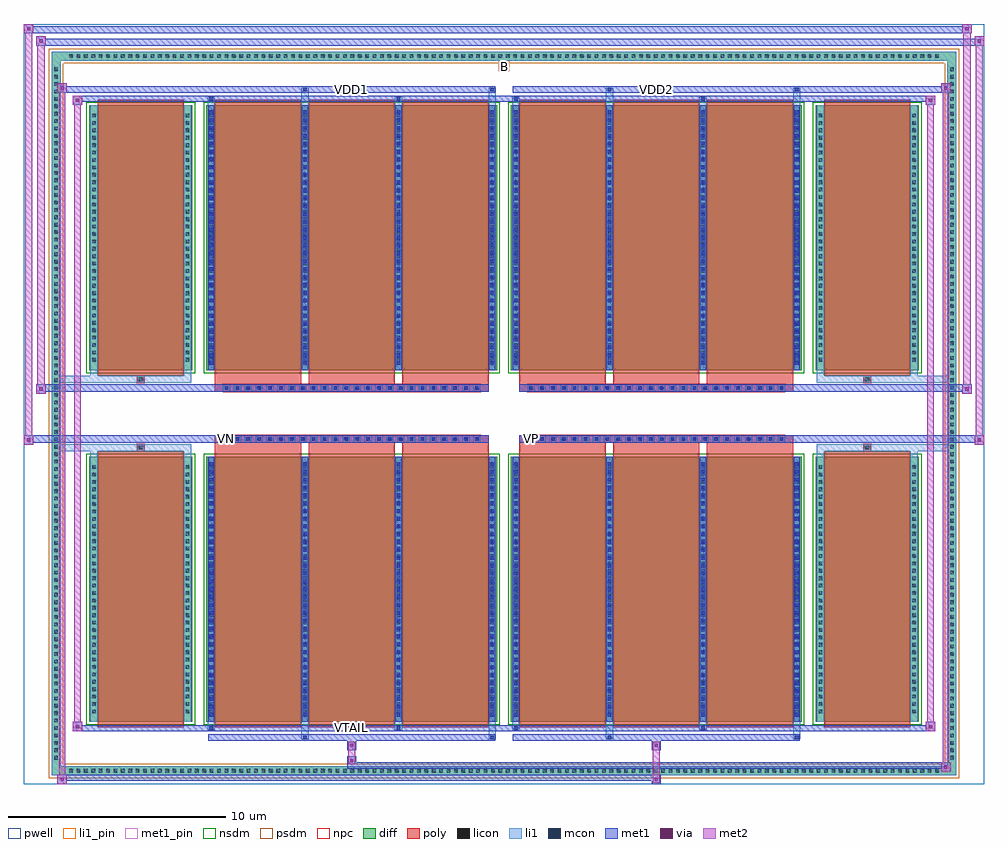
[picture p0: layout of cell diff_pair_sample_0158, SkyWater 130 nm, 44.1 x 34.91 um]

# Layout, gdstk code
import gdstk
lib = gdstk.Library(unit=1e-6, precision=5e-09)
def R(c, l, rs):  # rectangles x0, y0, x1, y1
    for r in rs: c.add(gdstk.rectangle(r[:2], r[2:], *l))
def A(c, l, x, y, w, h, nx, ny, dx, dy):  # array of equal rectangles
    R(c, l, [(x+i*dx, y+j*dy, x+i*dx+w, y+j*dy+h) for i in range(nx) for j in range(ny)])
def P(c, l, *ps):  # polygons
    for p in ps: c.add(gdstk.Polygon(p, *l))
pwell = (64, 44)
diff = (65, 20)
poly = (66, 20)
licon = (66, 44)
li1_pin = (67, 16)
li1 = (67, 20)
mcon = (67, 44)
met1_pin = (68, 16)
met1 = (68, 20)
via = (68, 44)
met2 = (69, 20)
nsdm = (93, 44)
psdm = (94, 20)
npc = (95, 20)

diff_pair_sample_0158 = lib.new_cell('diff_pair_sample_0158')
R(diff_pair_sample_0158, pwell, [(-22.05,-17.02,22.05,17.89), (-19.37,-15.21,-0.01,-0.805), (0.01,-15.21,19.37,-0.805), (-19.37,0.805,-0.01,15.21), (0.01,0.805,19.37,15.21)])
A(diff_pair_sample_0158, diff, -20.095, -16.62, 0.41, 0.41, 118, 2, 0.34, 32.83)
A(diff_pair_sample_0158, diff, -20.78, -16.015, 0.41, 0.41, 1, 94, 0, 0.34)
A(diff_pair_sample_0158, diff, 20.37, -16.015, 0.41, 0.41, 1, 94, 0, 0.34)
R(diff_pair_sample_0158, diff, [(-20.095,-16.62,20.095,-16.21), (-20.78,-16.015,-20.37,16.015), (20.37,-16.015,20.78,16.015), (-19.06,-14.165,-14.31,-1.985), (-13.67,-14.165,-0.32,-1.985), (0.32,-14.165,13.67,-1.985), (14.31,-14.165,19.06,-1.985), (-19.06,1.985,-14.31,14.165), (-13.67,1.985,-0.32,14.165), (0.32,1.985,13.67,14.165), (14.31,1.985,19.06,14.165), (-20.095,16.21,20.095,16.62)])
P(diff_pair_sample_0158, diff, [(20.78,16.62),(-20.78,16.62),(-20.78,-16.21),(-20.37,-16.21),(-20.37,16.21),(20.37,16.21),(20.37,-16.21),(-20.37,-16.21),(-20.78,-16.21),(-20.78,-16.62),(20.78,-16.62)])
A(diff_pair_sample_0158, poly, -13.28, -14.415, 3.97, 12.68, 3, 2, 4.3, 16.15)
A(diff_pair_sample_0158, poly, 0.71, -14.415, 3.97, 12.68, 3, 2, 4.3, 16.15)
A(diff_pair_sample_0158, poly, -13.28, -1.735, 3.97, 0.4, 3, 2, 4.3, 3.07)
A(diff_pair_sample_0158, poly, 0.71, -1.735, 3.97, 0.4, 3, 2, 4.3, 3.07)
A(diff_pair_sample_0158, poly, -12.91, -1.335, 0.33, 0.33, 24, 2, 0.5, 2.34)
A(diff_pair_sample_0158, poly, 1.08, -1.335, 0.33, 0.33, 24, 2, 0.5, 2.34)
R(diff_pair_sample_0158, poly, [(-18.67,-14.415,-14.7,-1.735), (14.7,-14.415,18.67,-1.735), (-16.85,-1.735,-16.52,-1.405), (-16.85,-1.735,-16.52,-1.405), (16.52,-1.735,16.85,-1.405), (16.52,-1.735,16.85,-1.405), (-13.28,-1.335,-0.71,-1.005), (0.71,-1.335,13.28,-1.005), (-13.28,1.005,-0.71,1.335), (0.71,1.005,13.28,1.335), (-16.85,1.405,-16.52,1.735), (-16.85,1.405,-16.52,1.735), (16.52,1.405,16.85,1.735), (16.52,1.405,16.85,1.735), (-18.67,1.735,-14.7,14.415), (14.7,1.735,18.67,14.415)])
A(diff_pair_sample_0158, licon, -19.975, -16.5, 0.17, 0.17, 118, 2, 0.34, 32.83)
A(diff_pair_sample_0158, licon, -20.66, -15.895, 0.17, 0.17, 1, 94, 0, 0.34)
A(diff_pair_sample_0158, licon, 20.49, -15.895, 0.17, 0.17, 1, 94, 0, 0.34)
A(diff_pair_sample_0158, licon, -18.92, -13.77, 0.17, 0.17, 1, 34, 0, 0.34)
A(diff_pair_sample_0158, licon, -14.62, -13.77, 0.17, 0.17, 1, 34, 0, 0.34)
A(diff_pair_sample_0158, licon, -13.53, -13.77, 0.17, 0.17, 4, 34, 4.3, 0.34)
A(diff_pair_sample_0158, licon, 0.46, -13.77, 0.17, 0.17, 4, 34, 4.3, 0.34)
A(diff_pair_sample_0158, licon, 14.45, -13.77, 0.17, 0.17, 1, 34, 0, 0.34)
A(diff_pair_sample_0158, licon, 18.75, -13.77, 0.17, 0.17, 1, 34, 0, 0.34)
A(diff_pair_sample_0158, licon, -12.83, -1.255, 0.17, 0.17, 24, 2, 0.5, 2.34)
A(diff_pair_sample_0158, licon, 1.16, -1.255, 0.17, 0.17, 24, 2, 0.5, 2.34)
A(diff_pair_sample_0158, licon, -18.92, 2.38, 0.17, 0.17, 1, 34, 0, 0.34)
A(diff_pair_sample_0158, licon, -14.62, 2.38, 0.17, 0.17, 1, 34, 0, 0.34)
A(diff_pair_sample_0158, licon, -13.53, 2.38, 0.17, 0.17, 4, 34, 4.3, 0.34)
A(diff_pair_sample_0158, licon, 0.46, 2.38, 0.17, 0.17, 4, 34, 4.3, 0.34)
A(diff_pair_sample_0158, licon, 14.45, 2.38, 0.17, 0.17, 1, 34, 0, 0.34)
A(diff_pair_sample_0158, licon, 18.75, 2.38, 0.17, 0.17, 1, 34, 0, 0.34)
R(diff_pair_sample_0158, licon, [(-16.77,-1.655,-16.6,-1.485), (16.6,-1.655,16.77,-1.485), (-16.77,1.485,-16.6,1.655), (16.6,1.485,16.77,1.655)])
R(diff_pair_sample_0158, li1_pin, [(-0.25,15.71,0.25,16.21)])
A(diff_pair_sample_0158, li1, -20.055, -16.58, 0.33, 0.33, 118, 2, 0.34, 32.83)
A(diff_pair_sample_0158, li1, -20.74, -15.975, 0.33, 0.33, 1, 94, 0, 0.34)
A(diff_pair_sample_0158, li1, 20.41, -15.975, 0.33, 0.33, 1, 94, 0, 0.34)
A(diff_pair_sample_0158, li1, -13.61, -14.165, 0.33, 12.18, 4, 2, 4.3, 16.15)
A(diff_pair_sample_0158, li1, 0.38, -14.165, 0.33, 12.18, 4, 2, 4.3, 16.15)
A(diff_pair_sample_0158, li1, -13.53, -13.92, 0.17, 0.17, 4, 33, 4.3, 0.36)
A(diff_pair_sample_0158, li1, -13.53, -13.92, 0.17, 11.69, 4, 2, 4.3, 16.15)
A(diff_pair_sample_0158, li1, 0.46, -13.92, 0.17, 0.17, 4, 33, 4.3, 0.36)
A(diff_pair_sample_0158, li1, 0.46, -13.92, 0.17, 11.69, 4, 2, 4.3, 16.15)
A(diff_pair_sample_0158, li1, -19, -13.85, 0.33, 0.33, 1, 34, 0, 0.34)
A(diff_pair_sample_0158, li1, -14.7, -13.85, 0.33, 0.33, 1, 34, 0, 0.34)
A(diff_pair_sample_0158, li1, -13.61, -13.85, 0.33, 0.33, 4, 34, 4.3, 0.34)
A(diff_pair_sample_0158, li1, 0.38, -13.85, 0.33, 0.33, 4, 34, 4.3, 0.34)
A(diff_pair_sample_0158, li1, 14.37, -13.85, 0.33, 0.33, 1, 34, 0, 0.34)
A(diff_pair_sample_0158, li1, 18.67, -13.85, 0.33, 0.33, 1, 34, 0, 0.34)
A(diff_pair_sample_0158, li1, -12.91, -1.335, 0.33, 0.33, 24, 2, 0.5, 2.34)
A(diff_pair_sample_0158, li1, 1.08, -1.335, 0.33, 0.33, 24, 2, 0.5, 2.34)
A(diff_pair_sample_0158, li1, -13.53, 2.23, 0.17, 0.17, 4, 33, 4.3, 0.36)
A(diff_pair_sample_0158, li1, 0.46, 2.23, 0.17, 0.17, 4, 33, 4.3, 0.36)
A(diff_pair_sample_0158, li1, -19, 2.3, 0.33, 0.33, 1, 34, 0, 0.34)
A(diff_pair_sample_0158, li1, -14.7, 2.3, 0.33, 0.33, 1, 34, 0, 0.34)
A(diff_pair_sample_0158, li1, -13.61, 2.3, 0.33, 0.33, 4, 34, 4.3, 0.34)
A(diff_pair_sample_0158, li1, 0.38, 2.3, 0.33, 0.33, 4, 34, 4.3, 0.34)
A(diff_pair_sample_0158, li1, 14.37, 2.3, 0.33, 0.33, 1, 34, 0, 0.34)
A(diff_pair_sample_0158, li1, 18.67, 2.3, 0.33, 0.33, 1, 34, 0, 0.34)
R(diff_pair_sample_0158, li1, [(-20.78,-16.62,-20.37,-16.21), (-20.78,-16.62,-20.37,-16.21), (-20.37,-16.62,20.37,-16.21), (20.37,-16.62,20.78,-16.21), (20.37,-16.62,20.78,-16.21), (-20.78,-16.21,-20.37,16.21), (20.37,-16.21,20.78,16.21), (-9.31,-14.97,-8.98,-14.165), (-9.23,-14.97,-9.06,-14.8), (-0.71,-14.97,-0.38,-14.165), (-0.63,-14.97,-0.46,-14.8), (4.68,-14.97,5.01,-14.165), (4.76,-14.97,4.93,-14.8), (13.28,-14.97,13.61,-14.165), (13.36,-14.97,13.53,-14.8), (-13.61,-14.54,-13.28,-14.165), (-13.53,-14.54,-13.36,-14.37), (-5.01,-14.54,-4.68,-14.165), (-4.93,-14.54,-4.76,-14.37), (0.38,-14.54,0.71,-14.165), (0.46,-14.54,0.63,-14.37), (8.98,-14.54,9.31,-14.165), (9.06,-14.54,9.23,-14.37), (-19,-14.165,-18.67,-1.985), (-14.7,-14.165,-14.37,-1.985), (14.37,-14.165,14.7,-1.985), (18.67,-14.165,19,-1.985), (-19,-1.985,-18.67,-1.405), (-14.7,-1.985,-14.37,-1.405), (14.37,-1.985,14.7,-1.405), (18.67,-1.985,19,-1.405), (-20.78,-1.735,-16.85,-1.405), (-19,-1.735,-16.85,-1.405), (-16.85,-1.735,-16.52,-1.405), (-16.52,-1.735,-14.37,-1.405), (14.37,-1.735,16.52,-1.405), (16.52,-1.735,16.85,-1.405), (16.52,-1.735,20.78,-1.405), (16.85,-1.735,19,-1.405), (-20.78,1.405,-16.85,1.735), (-19,1.405,-16.85,1.735), (-19,1.405,-18.67,1.985), (-16.85,1.405,-16.52,1.735), (-16.52,1.405,-14.37,1.735), (-14.7,1.405,-14.37,1.985), (14.37,1.405,16.52,1.735), (14.37,1.405,14.7,1.985), (16.52,1.405,16.85,1.735), (16.52,1.405,20.78,1.735), (16.85,1.405,19,1.735), (18.67,1.405,19,1.985), (-19,1.985,-18.67,14.165), (-14.7,1.985,-14.37,14.165), (14.37,1.985,14.7,14.165), (18.67,1.985,19,14.165), (-13.61,14.165,-13.28,14.54), (-9.31,14.165,-8.98,14.97), (-5.01,14.165,-4.68,14.54), (-0.71,14.165,-0.38,14.97), (0.38,14.165,0.71,14.54), (4.68,14.165,5.01,14.97), (8.98,14.165,9.31,14.54), (13.28,14.165,13.61,14.97), (-13.53,14.37,-13.36,14.54), (-4.93,14.37,-4.76,14.54), (0.46,14.37,0.63,14.54), (9.06,14.37,9.23,14.54), (-9.23,14.8,-9.06,14.97), (-0.63,14.8,-0.46,14.97), (4.76,14.8,4.93,14.97), (13.36,14.8,13.53,14.97), (-20.78,16.21,-20.37,16.62), (-20.78,16.21,-20.37,16.62), (-20.37,16.21,20.37,16.62), (20.37,16.21,20.78,16.62), (20.37,16.21,20.78,16.62)])
A(diff_pair_sample_0158, mcon, -13.53, -13.92, 0.17, 0.17, 4, 33, 4.3, 0.36)
A(diff_pair_sample_0158, mcon, 0.46, -13.92, 0.17, 0.17, 4, 33, 4.3, 0.36)
A(diff_pair_sample_0158, mcon, -12.83, -1.255, 0.17, 0.17, 24, 2, 0.5, 2.34)
A(diff_pair_sample_0158, mcon, 1.16, -1.255, 0.17, 0.17, 24, 2, 0.5, 2.34)
A(diff_pair_sample_0158, mcon, -13.53, 2.23, 0.17, 0.17, 4, 33, 4.3, 0.36)
A(diff_pair_sample_0158, mcon, 0.46, 2.23, 0.17, 0.17, 4, 33, 4.3, 0.36)
R(diff_pair_sample_0158, mcon, [(-9.23,-14.97,-9.06,-14.8), (-0.63,-14.97,-0.46,-14.8), (4.76,-14.97,4.93,-14.8), (13.36,-14.97,13.53,-14.8), (-13.53,-14.54,-13.36,-14.37), (-4.93,-14.54,-4.76,-14.37), (0.46,-14.54,0.63,-14.37), (9.06,-14.54,9.23,-14.37), (-13.53,14.37,-13.36,14.54), (-4.93,14.37,-4.76,14.54), (0.46,14.37,0.63,14.54), (9.06,14.37,9.23,14.54), (-9.23,14.8,-9.06,14.97), (-0.63,14.8,-0.46,14.97), (4.76,14.8,4.93,14.97), (13.36,14.8,13.53,14.97)])
R(diff_pair_sample_0158, met1_pin, [(-7.13,-14.58,-6.86,-14.31), (-12.88,-1.295,-12.61,-1.025), (1.11,-1.295,1.38,-1.025), (-7.13,14.76,-6.86,15.03), (6.86,14.76,7.13,15.03)])
A(diff_pair_sample_0158, met1, -13.59, -14.165, 0.29, 12.18, 4, 2, 4.3, 16.15)
A(diff_pair_sample_0158, met1, 0.4, -14.165, 0.29, 12.18, 4, 2, 4.3, 16.15)
A(diff_pair_sample_0158, met1, -13.59, -13.98, 0.29, 0.29, 4, 33, 4.3, 0.36)
A(diff_pair_sample_0158, met1, 0.4, -13.98, 0.29, 0.29, 4, 33, 4.3, 0.36)
A(diff_pair_sample_0158, met1, -12.89, -1.315, 0.29, 0.29, 24, 2, 0.5, 2.34)
A(diff_pair_sample_0158, met1, 1.1, -1.315, 0.29, 0.29, 24, 2, 0.5, 2.34)
A(diff_pair_sample_0158, met1, -13.59, 2.17, 0.29, 0.29, 4, 33, 4.3, 0.36)
A(diff_pair_sample_0158, met1, 0.4, 2.17, 0.29, 0.29, 4, 33, 4.3, 0.36)
R(diff_pair_sample_0158, met1, [(-20.51,-17.02,-20.08,-16.59), (6.78,-17.02,7.21,-16.59), (-20.51,-16.88,7.21,-16.59), (20.08,-16.45,20.51,-16.02), (-7.21,-16.31,20.51,-16.02), (-7.21,-16.17,-6.78,-15.74), (-7.21,-15.46,-6.78,-15.03), (6.78,-15.46,7.21,-15.03), (-13.59,-15.03,-0.4,-14.74), (-9.29,-15.03,-9,-14.74), (-0.69,-15.03,-0.4,-14.74), (0.4,-15.03,13.59,-14.74), (4.7,-15.03,4.99,-14.74), (13.3,-15.03,13.59,-14.74), (-19.8,-14.6,-19.37,-14.17), (-19.8,-14.6,-13.59,-14.31), (-13.59,-14.6,-13.3,-14.31), (-13.59,-14.6,-0.4,-14.31), (-4.99,-14.6,-4.7,-14.31), (-0.4,-14.6,0.4,-14.31), (0.4,-14.6,0.69,-14.31), (0.4,-14.6,13.59,-14.31), (9,-14.6,9.29,-14.31), (13.59,-14.6,19.8,-14.31), (19.37,-14.6,19.8,-14.17), (-22.05,-1.435,-21.62,-1.005), (21.62,-1.435,22.05,-1.005), (-22.05,-1.335,-0.71,-1.005), (-13.28,-1.335,-0.71,-1.005), (0.71,-1.335,13.28,-1.005), (0.71,-1.335,22.05,-1.005), (-21.48,0.905,-21.05,1.335), (21.05,0.905,21.48,1.335), (-21.48,1.005,-13.28,1.335), (-13.28,1.005,-0.71,1.335), (0.71,1.005,13.28,1.335), (13.28,1.005,21.48,1.335), (-19.8,14.17,-19.37,14.6), (19.37,14.17,19.8,14.6), (-19.8,14.31,-13.59,14.6), (-13.59,14.31,-13.3,14.6), (-13.59,14.31,-0.4,14.6), (-4.99,14.31,-4.7,14.6), (-0.4,14.31,0.4,14.6), (0.4,14.31,0.69,14.6), (0.4,14.31,13.59,14.6), (9,14.31,9.29,14.6), (13.59,14.31,19.8,14.6), (-20.51,14.74,-20.08,15.17), (-20.51,14.74,-13.59,15.03), (-13.59,14.74,-0.4,15.03), (-9.29,14.74,-9,15.03), (-0.69,14.74,-0.4,15.03), (0.4,14.74,13.59,15.03), (4.7,14.74,4.99,15.03), (13.3,14.74,13.59,15.03), (13.59,14.74,20.51,15.03), (20.08,14.74,20.51,15.17), (-21.48,16.89,-21.05,17.32), (-21.48,16.89,-19.37,17.22), (-19.37,16.89,19.37,17.22), (19.37,16.89,22.05,17.22), (21.62,16.89,22.05,17.32), (-22.05,17.46,-21.62,17.89), (-22.05,17.46,-19.37,17.79), (-19.37,17.46,19.37,17.79), (19.37,17.46,21.48,17.79), (21.05,17.46,21.48,17.89)])
R(diff_pair_sample_0158, via, [(-20.37,-16.88,-20.22,-16.73), (6.92,-16.88,7.07,-16.73), (20.22,-16.31,20.37,-16.16), (-7.07,-16.03,-6.92,-15.88), (-7.07,-15.32,-6.92,-15.17), (6.92,-15.32,7.07,-15.17), (-19.66,-14.46,-19.51,-14.31), (19.51,-14.46,19.66,-14.31), (-21.91,-1.295,-21.76,-1.145), (21.76,-1.295,21.91,-1.145), (-21.34,1.045,-21.19,1.195), (21.19,1.045,21.34,1.195), (-19.66,14.31,-19.51,14.46), (19.51,14.31,19.66,14.46), (-20.37,14.88,-20.22,15.03), (20.22,14.88,20.37,15.03), (-21.34,17.03,-21.19,17.18), (21.76,17.03,21.91,17.18), (-21.91,17.6,-21.76,17.75), (21.19,17.6,21.34,17.75)])
R(diff_pair_sample_0158, met2, [(-20.51,-17.02,-20.08,-16.59), (-20.44,-17.02,-20.15,15.17), (-20.15,-17.02,-20.08,-16.59), (-20.46,-16.97,-20.13,-16.64), (6.83,-16.97,7.16,-16.64), (6.83,-16.64,7.16,-15.41), (20.08,-16.45,20.51,-16.02), (20.15,-16.45,20.44,15.17), (20.44,-16.45,20.51,-16.02), (20.13,-16.4,20.46,-16.07), (-7.16,-16.12,-6.83,-15.79), (-7.16,-15.79,-6.83,-15.41), (-7.16,-15.41,-6.83,-15.08), (6.83,-15.41,7.16,-15.08), (-19.8,-14.6,-19.37,-14.17), (-19.73,-14.6,-19.44,14.6), (-19.44,-14.6,-19.37,-14.17), (19.37,-14.6,19.8,-14.17), (19.44,-14.6,19.73,14.6), (19.73,-14.6,19.8,-14.17), (-19.75,-14.55,-19.42,-14.22), (19.42,-14.55,19.75,-14.22), (-22.05,-1.435,-21.62,-1.005), (-22,-1.435,-21.67,17.89), (-21.67,-1.435,-21.62,-1.005), (21.62,-1.435,22.05,-1.005), (21.67,-1.435,22,17.32), (22,-1.435,22.05,-1.005), (-22,-1.385,-21.67,-1.055), (21.67,-1.385,22,-1.055), (-21.48,0.905,-21.05,1.335), (-21.43,0.905,-21.1,17.32), (-21.1,0.905,-21.05,1.335), (21.05,0.905,21.48,1.335), (21.1,0.905,21.43,17.89), (21.43,0.905,21.48,1.335), (-21.43,0.955,-21.1,1.285), (21.1,0.955,21.43,1.285), (-19.8,14.17,-19.37,14.6), (-19.44,14.17,-19.37,14.6), (19.37,14.17,19.8,14.6), (19.73,14.17,19.8,14.6), (-19.75,14.22,-19.42,14.55), (19.42,14.22,19.75,14.55), (-20.51,14.74,-20.08,15.17), (-20.15,14.74,-20.08,15.17), (20.08,14.74,20.51,15.17), (20.44,14.74,20.51,15.17), (-20.46,14.79,-20.13,15.12), (20.13,14.79,20.46,15.12), (-21.48,16.89,-21.05,17.32), (-21.1,16.89,-21.05,17.32), (21.62,16.89,22.05,17.32), (22,16.89,22.05,17.32), (-21.43,16.94,-21.1,17.27), (21.67,16.94,22,17.27), (-22.05,17.46,-21.62,17.89), (-21.67,17.46,-21.62,17.89), (21.05,17.46,21.48,17.89), (21.43,17.46,21.48,17.89), (-22,17.51,-21.67,17.84), (21.1,17.51,21.43,17.84)])
R(diff_pair_sample_0158, nsdm, [(-19.19,-14.295,-14.18,-1.855), (-13.8,-14.295,-0.19,-1.855), (0.19,-14.295,13.8,-1.855), (14.18,-14.295,19.19,-1.855), (-19.19,1.855,-14.18,14.295), (-13.8,1.855,-0.19,14.295), (0.19,1.855,13.8,14.295), (14.18,1.855,19.19,14.295)])
P(diff_pair_sample_0158, psdm, [(20.91,16.75),(-20.91,16.75),(-20.91,-16.08),(-20.24,-16.08),(-20.24,16.08),(20.24,16.08),(20.24,-16.08),(-20.24,-16.08),(-20.91,-16.08),(-20.91,-16.75),(20.91,-16.75)])
A(diff_pair_sample_0158, npc, -12.93, -1.355, 0.37, 0.37, 24, 2, 0.5, 2.34)
A(diff_pair_sample_0158, npc, 1.06, -1.355, 0.37, 0.37, 24, 2, 0.5, 2.34)
R(diff_pair_sample_0158, npc, [(-16.87,-1.755,-16.5,-1.385), (16.5,-1.755,16.87,-1.385), (-12.93,-1.355,-12.06,-0.985), (-12.93,-1.355,-12.06,-0.985), (-12.43,-1.355,-11.56,-0.985), (-12.43,-1.355,-11.56,-0.985), (-11.93,-1.355,-11.06,-0.985), (-11.93,-1.355,-11.06,-0.985), (-11.43,-1.355,-10.56,-0.985), (-11.43,-1.355,-10.56,-0.985), (-10.93,-1.355,-10.06,-0.985), (-10.93,-1.355,-10.06,-0.985), (-10.43,-1.355,-9.56,-0.985), (-10.43,-1.355,-9.56,-0.985), (-9.93,-1.355,-9.06,-0.985), (-9.93,-1.355,-9.06,-0.985), (-9.43,-1.355,-8.56,-0.985), (-9.43,-1.355,-8.56,-0.985), (-8.93,-1.355,-8.06,-0.985), (-8.93,-1.355,-8.06,-0.985), (-8.43,-1.355,-7.56,-0.985), (-8.43,-1.355,-7.56,-0.985), (-7.93,-1.355,-7.06,-0.985), (-7.93,-1.355,-7.06,-0.985), (-7.43,-1.355,-6.56,-0.985), (-7.43,-1.355,-6.56,-0.985), (-6.93,-1.355,-6.06,-0.985), (-6.93,-1.355,-6.06,-0.985), (-6.43,-1.355,-5.56,-0.985), (-6.43,-1.355,-5.56,-0.985), (-5.93,-1.355,-5.06,-0.985), (-5.93,-1.355,-5.06,-0.985), (-5.43,-1.355,-4.56,-0.985), (-5.43,-1.355,-4.56,-0.985), (-4.93,-1.355,-4.06,-0.985), (-4.93,-1.355,-4.06,-0.985), (-4.43,-1.355,-3.56,-0.985), (-4.43,-1.355,-3.56,-0.985), (-3.93,-1.355,-3.06,-0.985), (-3.93,-1.355,-3.06,-0.985), (-3.43,-1.355,-2.56,-0.985), (-3.43,-1.355,-2.56,-0.985), (-2.93,-1.355,-2.06,-0.985), (-2.93,-1.355,-2.06,-0.985), (-2.43,-1.355,-1.56,-0.985), (-2.43,-1.355,-1.56,-0.985), (-1.93,-1.355,-1.06,-0.985), (-1.93,-1.355,-1.06,-0.985), (1.06,-1.355,1.93,-0.985), (1.06,-1.355,1.93,-0.985), (1.56,-1.355,2.43,-0.985), (1.56,-1.355,2.43,-0.985), (2.06,-1.355,2.93,-0.985), (2.06,-1.355,2.93,-0.985), (2.56,-1.355,3.43,-0.985), (2.56,-1.355,3.43,-0.985), (3.06,-1.355,3.93,-0.985), (3.06,-1.355,3.93,-0.985), (3.56,-1.355,4.43,-0.985), (3.56,-1.355,4.43,-0.985), (4.06,-1.355,4.93,-0.985), (4.06,-1.355,4.93,-0.985), (4.56,-1.355,5.43,-0.985), (4.56,-1.355,5.43,-0.985), (5.06,-1.355,5.93,-0.985), (5.06,-1.355,5.93,-0.985), (5.56,-1.355,6.43,-0.985), (5.56,-1.355,6.43,-0.985), (6.06,-1.355,6.93,-0.985), (6.06,-1.355,6.93,-0.985), (6.56,-1.355,7.43,-0.985), (6.56,-1.355,7.43,-0.985), (7.06,-1.355,7.93,-0.985), (7.06,-1.355,7.93,-0.985), (7.56,-1.355,8.43,-0.985), (7.56,-1.355,8.43,-0.985), (8.06,-1.355,8.93,-0.985), (8.06,-1.355,8.93,-0.985), (8.56,-1.355,9.43,-0.985), (8.56,-1.355,9.43,-0.985), (9.06,-1.355,9.93,-0.985), (9.06,-1.355,9.93,-0.985), (9.56,-1.355,10.43,-0.985), (9.56,-1.355,10.43,-0.985), (10.06,-1.355,10.93,-0.985), (10.06,-1.355,10.93,-0.985), (10.56,-1.355,11.43,-0.985), (10.56,-1.355,11.43,-0.985), (11.06,-1.355,11.93,-0.985), (11.06,-1.355,11.93,-0.985), (11.56,-1.355,12.43,-0.985), (11.56,-1.355,12.43,-0.985), (12.06,-1.355,12.93,-0.985), (12.06,-1.355,12.93,-0.985), (-12.93,0.985,-12.06,1.355), (-12.93,0.985,-12.06,1.355), (-12.43,0.985,-11.56,1.355), (-12.43,0.985,-11.56,1.355), (-11.93,0.985,-11.06,1.355), (-11.93,0.985,-11.06,1.355), (-11.43,0.985,-10.56,1.355), (-11.43,0.985,-10.56,1.355), (-10.93,0.985,-10.06,1.355), (-10.93,0.985,-10.06,1.355), (-10.43,0.985,-9.56,1.355), (-10.43,0.985,-9.56,1.355), (-9.93,0.985,-9.06,1.355), (-9.93,0.985,-9.06,1.355), (-9.43,0.985,-8.56,1.355), (-9.43,0.985,-8.56,1.355), (-8.93,0.985,-8.06,1.355), (-8.93,0.985,-8.06,1.355), (-8.43,0.985,-7.56,1.355), (-8.43,0.985,-7.56,1.355), (-7.93,0.985,-7.06,1.355), (-7.93,0.985,-7.06,1.355), (-7.43,0.985,-6.56,1.355), (-7.43,0.985,-6.56,1.355), (-6.93,0.985,-6.06,1.355), (-6.93,0.985,-6.06,1.355), (-6.43,0.985,-5.56,1.355), (-6.43,0.985,-5.56,1.355), (-5.93,0.985,-5.06,1.355), (-5.93,0.985,-5.06,1.355), (-5.43,0.985,-4.56,1.355), (-5.43,0.985,-4.56,1.355), (-4.93,0.985,-4.06,1.355), (-4.93,0.985,-4.06,1.355), (-4.43,0.985,-3.56,1.355), (-4.43,0.985,-3.56,1.355), (-3.93,0.985,-3.06,1.355), (-3.93,0.985,-3.06,1.355), (-3.43,0.985,-2.56,1.355), (-3.43,0.985,-2.56,1.355), (-2.93,0.985,-2.06,1.355), (-2.93,0.985,-2.06,1.355), (-2.43,0.985,-1.56,1.355), (-2.43,0.985,-1.56,1.355), (-1.93,0.985,-1.06,1.355), (-1.93,0.985,-1.06,1.355), (1.06,0.985,1.93,1.355), (1.06,0.985,1.93,1.355), (1.56,0.985,2.43,1.355), (1.56,0.985,2.43,1.355), (2.06,0.985,2.93,1.355), (2.06,0.985,2.93,1.355), (2.56,0.985,3.43,1.355), (2.56,0.985,3.43,1.355), (3.06,0.985,3.93,1.355), (3.06,0.985,3.93,1.355), (3.56,0.985,4.43,1.355), (3.56,0.985,4.43,1.355), (4.06,0.985,4.93,1.355), (4.06,0.985,4.93,1.355), (4.56,0.985,5.43,1.355), (4.56,0.985,5.43,1.355), (5.06,0.985,5.93,1.355), (5.06,0.985,5.93,1.355), (5.56,0.985,6.43,1.355), (5.56,0.985,6.43,1.355), (6.06,0.985,6.93,1.355), (6.06,0.985,6.93,1.355), (6.56,0.985,7.43,1.355), (6.56,0.985,7.43,1.355), (7.06,0.985,7.93,1.355), (7.06,0.985,7.93,1.355), (7.56,0.985,8.43,1.355), (7.56,0.985,8.43,1.355), (8.06,0.985,8.93,1.355), (8.06,0.985,8.93,1.355), (8.56,0.985,9.43,1.355), (8.56,0.985,9.43,1.355), (9.06,0.985,9.93,1.355), (9.06,0.985,9.93,1.355), (9.56,0.985,10.43,1.355), (9.56,0.985,10.43,1.355), (10.06,0.985,10.93,1.355), (10.06,0.985,10.93,1.355), (10.56,0.985,11.43,1.355), (10.56,0.985,11.43,1.355), (11.06,0.985,11.93,1.355), (11.06,0.985,11.93,1.355), (11.56,0.985,12.43,1.355), (11.56,0.985,12.43,1.355), (12.06,0.985,12.93,1.355), (12.06,0.985,12.93,1.355), (-16.87,1.385,-16.5,1.755), (16.5,1.385,16.87,1.755)])
diff_pair_sample_0158.add(gdstk.Label('VTAIL', (-6.995,-14.445), layer=68, texttype=5))
diff_pair_sample_0158.add(gdstk.Label('VN', (-12.745,-1.16), layer=68, texttype=5))
diff_pair_sample_0158.add(gdstk.Label('VP', (1.245,-1.16), layer=68, texttype=5))
diff_pair_sample_0158.add(gdstk.Label('B', (0,15.96), layer=67, texttype=5))
diff_pair_sample_0158.add(gdstk.Label('VDD2', (6.995,14.895), layer=68, texttype=5))
diff_pair_sample_0158.add(gdstk.Label('VDD1', (-6.995,14.895), layer=68, texttype=5))

lib.write_gds('diff_pair_sample_0158.gds')
